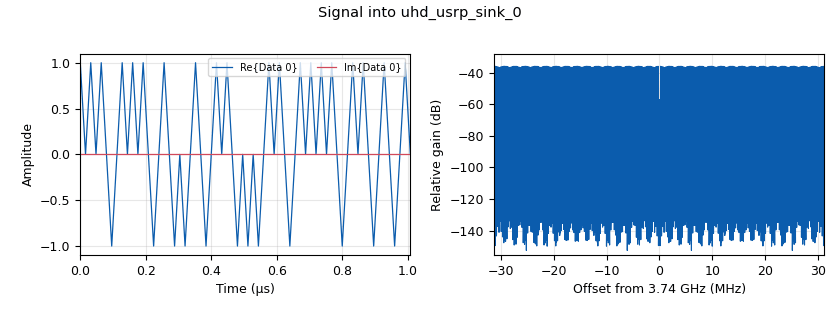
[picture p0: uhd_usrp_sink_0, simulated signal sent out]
options:
  parameters:
    author: usama
    generate_options: qt_gui
    id: PN_correlation
    output_language: python
    title: Not doch Doch titled yet
  states: {}

blocks:
- name: BW
  id: variable
  parameters:
    comment: |-
      keep it from 1 to 2MHz, if increase then get Noise, as then we capture more signal
      decrease then miss signal
    value: '0'
  states: {}
- name: alpha
  id: variable_qtgui_range
  parameters:
    comment: alpha approaches to 1, sharp impulse, low side lobes
    start: '0'
    step: '0.250'
    stop: '1'
    value: '0.350'
  states: {}
- name: deg
  id: variable
  parameters:
    comment: |-
      keep it from 1 to 2MHz, if increase then get Noise, as then we capture more signal
      decrease then miss signal
    value: '7'
  states: {}
- name: fft_1
  id: variable
  parameters:
    comment: |-
      128*128
      128*2048*1
      128*512
    value: 1024*4
  states: {}
- name: freq
  id: variable_qtgui_range
  parameters:
    start: 1.700e9
    step: 500e3
    stop: 3.900e9
    value: 3.740e9
  states: {}
- name: rx_gain
  id: variable_qtgui_range
  parameters:
    start: '0'
    step: '1'
    stop: '150'
    value: '40'
  states: {}
- name: samp_rate
  id: variable_qtgui_range
  parameters:
    comment: 62.500000e6
    start: 5e6
    step: 1e6
    stop: 130e6
    value: 62.5e6
  states: {}
- name: symbol
  id: variable
  parameters:
    value: samp_rate/1
  states: {}
- name: taps
  id: variable
  parameters:
    value: '1'
  states: {}
- name: tx_gain
  id: variable_qtgui_range
  parameters:
    start: '0'
    step: '1'
    stop: '120'
    value: '60'
  states: {}
- name: blocks_complex_to_float_0
  id: blocks_complex_to_float
  parameters:
    vlen: fft_1
  states: {}
- name: blocks_complex_to_mag_0
  id: blocks_complex_to_mag
  parameters: {}
  states: {}
- name: blocks_complex_to_mag_0_1_0
  id: blocks_complex_to_mag
  parameters:
    vlen: fft_1
  states: {}
- name: blocks_complex_to_mag_squared_0
  id: blocks_complex_to_mag_squared
  parameters:
    vlen: fft_1
  states: {}
- name: blocks_float_to_complex_0
  id: blocks_float_to_complex
  parameters: {}
  states: {}
- name: blocks_multiply_conjugate_cc_0
  id: blocks_multiply_conjugate_cc
  parameters:
    vlen: fft_1
  states: {}
- name: blocks_nlog10_ff_0
  id: blocks_nlog10_ff
  parameters:
    k: '0'
    n: '10'
    vlen: fft_1
  states: {}
- name: blocks_null_source_0
  id: blocks_null_source
  parameters:
    type: float
  states: {}
- name: blocks_stream_to_vector_0
  id: blocks_stream_to_vector
  parameters:
    num_items: fft_1
    type: complex
  states: {}
- name: blocks_stream_to_vector_0_0
  id: blocks_stream_to_vector
  parameters:
    num_items: fft_1
    type: complex
  states: {}
- name: digital_glfsr_source_x_0
  id: digital_glfsr_source_x
  parameters:
    degree: deg
    mask: '0'
    repeat: 'True'
    seed: '1'
    type: float
  states: {}
- name: digital_pn_correlator_cc_0
  id: digital_pn_correlator_cc
  parameters:
    degree: deg
    mask: '0'
    seed: '1'
  states: {}
- name: fft_vxx_0
  id: fft_vxx
  parameters:
    fft_size: fft_1
    forward: 'True'
    shift: 'True'
    type: complex
    window: window.blackmanharris(fft_1)
  states: {}
- name: fft_vxx_0_0
  id: fft_vxx
  parameters:
    comment: |-
      x(t)--> X(f)... Forward
      Time>>Freq
    fft_size: fft_1
    forward: 'True'
    shift: 'True'
    type: complex
    window: window.blackmanharris(fft_1)
  states: {}
- name: fft_vxx_2
  id: fft_vxx
  parameters:
    comment: back to Time Domain
    fft_size: fft_1
    forward: 'True'
    shift: 'True'
    type: complex
    window: window.blackmanharris(fft_1)
  states: {}
- name: qtgui_freq_sink_x_0_0_1
  id: qtgui_freq_sink_x
  parameters:
    autoscale: 'True'
    average: '0.1'
    bw: samp_rate
    fc: freq
    fftsize: '4096'
    grid: 'True'
    gui_hint: '0,0,1,1 '
    label1: Transmitter
    label2: Receiver
    name: TX / RX
    nconnections: '2'
    type: complex
    width2: '4'
    ymin: '-120'
  states: {}
- name: qtgui_time_sink_x_0_1_0_0
  id: qtgui_time_sink_x
  parameters:
    autoscale: 'True'
    entags: 'False'
    grid: 'True'
    gui_hint: 0,1,1,1
    marker1: '0'
    name: '"CIR (PN)"'
    size: '128'
    srate: samp_rate
    type: float
  states: {}
- name: qtgui_vector_sink_f_0_1_0
  id: qtgui_vector_sink_f
  parameters:
    autoscale: 'True'
    grid: 'True'
    gui_hint: 1,1,1,1
    label1: Magnitude
    name: CIR using IFFT
    vlen: fft_1
    x_axis_label: '"FFT bin Length" in Time domain> sample/sampling rate'
    x_start: '0'
    x_step: '1.0'
    y_axis_label: '"Amplitude"'
  states: {}
- name: qtgui_vector_sink_f_0_1_0_1
  id: qtgui_vector_sink_f
  parameters:
    alpha3: '1'
    autoscale: 'True'
    average: '0.1'
    color2: '"green"'
    color3: '"red"'
    grid: 'True'
    gui_hint: 1,0,1,1
    label1: Real
    label2: Imag
    label3: 20log
    name: CFR (Freq. domain Correlation)
    nconnections: '3'
    vlen: fft_1
    width3: '4'
    x_axis_label: Frequency(bin)
    x_start: '0'
    x_step: '1'
    x_units: '"sample Index"'
    y_axis_label: '"dB"'
    y_units: '"dB"'
    ymax: '20'
  states: {}
- name: root_raised_cosine_filter_0
  id: root_raised_cosine_filter
  parameters:
    alpha: alpha
    decim: '2'
    gain: '1'
    interp: '2'
    ntaps: taps
    samp_rate: samp_rate
    sym_rate: symbol
    type: interp_fir_filter_fff
  states: {}
- name: root_raised_cosine_filter_1
  id: root_raised_cosine_filter
  parameters:
    alpha: alpha
    decim: '2'
    gain: '1'
    interp: '2'
    ntaps: taps
    samp_rate: samp_rate
    sym_rate: symbol
    type: fir_filter_ccf
  states: {}
- name: uhd_usrp_sink_0
  id: uhd_usrp_sink
  parameters:
    ant0: '"TX/RX"'
    bw0: BW
    center_freq0: freq
    comment: |-
      "master_clock_rate=250e6"
      addr=192.168.30.212
      sofo
    dev_addr: addr=192.168.30.212
    gain0: tx_gain
    samp_rate: samp_rate
    sync: pc_clock
    type: fc32
  states: {}
- name: uhd_usrp_source_0
  id: uhd_usrp_source
  parameters:
    ant0: '"RX2"'
    bw0: BW
    center_freq0: freq
    dev_addr: addr=192.168.30.212
    gain0: rx_gain
    samp_rate: samp_rate
    sync: pc_clock
    type: fc32
  states: {}

connections:
- [blocks_complex_to_float_0, '0', qtgui_vector_sink_f_0_1_0_1, '0']
- [blocks_complex_to_float_0, '1', qtgui_vector_sink_f_0_1_0_1, '1']
- [blocks_complex_to_mag_0, '0', qtgui_time_sink_x_0_1_0_0, '0']
- [blocks_complex_to_mag_0_1_0, '0', qtgui_vector_sink_f_0_1_0, '0']
- [blocks_complex_to_mag_squared_0, '0', blocks_nlog10_ff_0, '0']
- [blocks_float_to_complex_0, '0', blocks_stream_to_vector_0_0, '0']
- [blocks_float_to_complex_0, '0', qtgui_freq_sink_x_0_0_1, '0']
- [blocks_float_to_complex_0, '0', uhd_usrp_sink_0, '0']
- [blocks_multiply_conjugate_cc_0, '0', blocks_complex_to_float_0, '0']
- [blocks_multiply_conjugate_cc_0, '0', blocks_complex_to_mag_squared_0, '0']
- [blocks_multiply_conjugate_cc_0, '0', fft_vxx_2, '0']
- [blocks_nlog10_ff_0, '0', qtgui_vector_sink_f_0_1_0_1, '2']
- [blocks_null_source_0, '0', blocks_float_to_complex_0, '1']
- [blocks_stream_to_vector_0, '0', fft_vxx_0, '0']
- [blocks_stream_to_vector_0_0, '0', fft_vxx_0_0, '0']
- [digital_glfsr_source_x_0, '0', root_raised_cosine_filter_0, '0']
- [digital_pn_correlator_cc_0, '0', blocks_complex_to_mag_0, '0']
- [fft_vxx_0, '0', blocks_multiply_conjugate_cc_0, '1']
- [fft_vxx_0_0, '0', blocks_multiply_conjugate_cc_0, '0']
- [fft_vxx_2, '0', blocks_complex_to_mag_0_1_0, '0']
- [root_raised_cosine_filter_0, '0', blocks_float_to_complex_0, '0']
- [root_raised_cosine_filter_1, '0', digital_pn_correlator_cc_0, '0']
- [uhd_usrp_source_0, '0', blocks_stream_to_vector_0, '0']
- [uhd_usrp_source_0, '0', qtgui_freq_sink_x_0_0_1, '1']
- [uhd_usrp_source_0, '0', root_raised_cosine_filter_1, '0']

metadata:
  file_format: 1
  grc_version: 3.10.7.0
